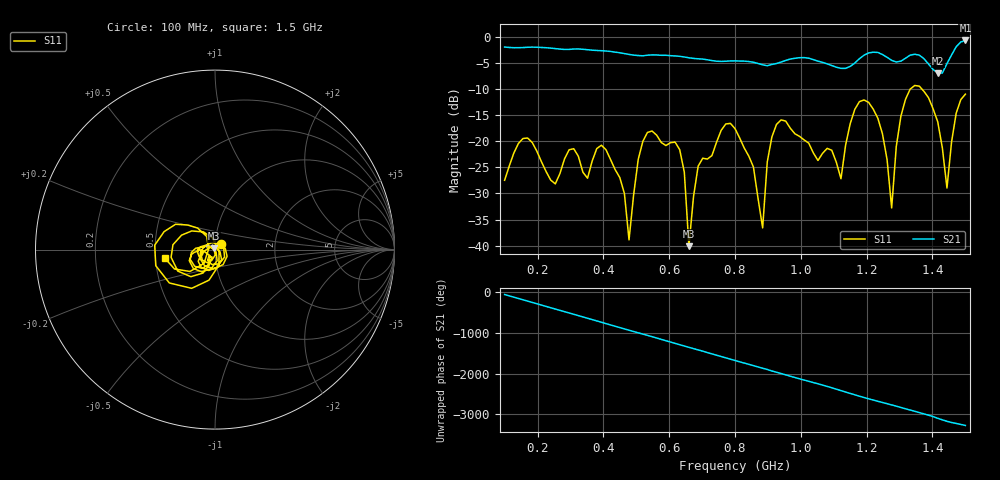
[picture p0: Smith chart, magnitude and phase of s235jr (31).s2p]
! NanoVNA-App
! Date: 2025-09-25 15:04:24
! Start: 100MHz Stop: 1,5GHz Points: 101
! S-Parameter data: F S11 S21 S12 S22
# Hz S RI R 50
!  Frequency  S11_Real  S11_Imag  S21_Real  S21_Imag  S12_Real  S12_Imag  S22_Real  S22_Imag
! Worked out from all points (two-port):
!   101 points, 100 MHz to 1.5 GHz, reference 50 ohm
!   highest |S21| = -0.70 dB at 1.5 GHz (marker M1); lowest = -7.0 dB at 1.416 GHz (marker M2)
!   |S21| within 3 dB of the highest: start of sweep to 624.5 MHz; 1.188 GHz to 1.256 GHz (67.81 MHz wide, 5.55 % of centre) (the widest 2 of 4)
!   lowest |S11| = -40.1 dB at 660 MHz (marker M3), VSWR 1.02, Z = 49.3 + j0.665 ohm
!   |S11| at or under -10 dB: start of sweep to 1.333 GHz; 1.368 GHz to end of sweep
!   S12 and S22 are empty: the file has one direction only
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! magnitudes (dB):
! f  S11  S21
! 100 MHz  -27.5  -2.0
! 156 MHz  -19.5  -2.1
! 338 MHz  -26.0  -2.4
! 408 MHz  -21.6  -2.7
! 478 MHz  -38.9  -3.4
! 520 MHz  -20.0  -3.6
! 576 MHz  -20.2  -3.5
! 632 MHz  -21.6  -3.7
! 660 MHz  -40.1  -4.0
! 688 MHz  -24.8  -4.2
! 800 MHz  -17.6  -4.6
! 884 MHz  -36.6  -5.4
! 926 MHz  -16.8  -5.1
! 1.038 GHz  -22.2  -4.4
! 1.122 GHz  -27.2  -6.0
! 1.206 GHz  -12.5  -3.1
! 1.276 GHz  -32.8  -4.5
! 1.304 GHz  -15.2  -4.7
! 1.332 GHz  -10.0  -3.5
! 1.416 GHz  -16.3  -7.0
! 1.444 GHz  -29.0  -5.1
! 1.5 GHz  -11.0  -0.7
